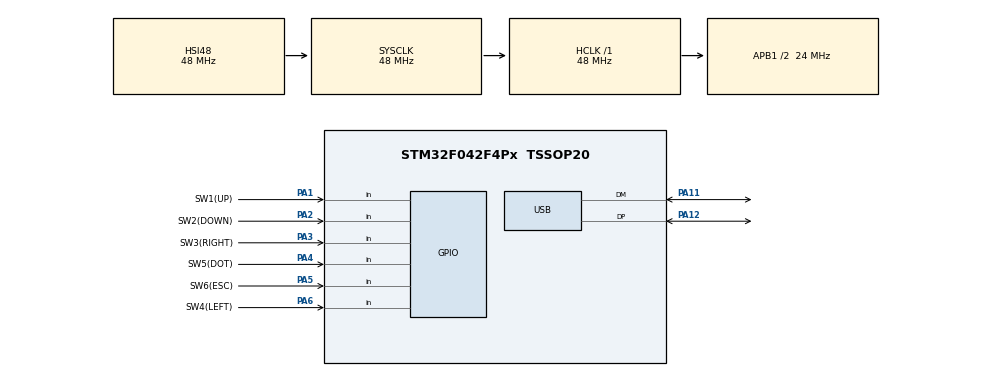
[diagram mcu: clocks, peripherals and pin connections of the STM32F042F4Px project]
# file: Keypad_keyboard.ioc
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Mcu.Family=STM32F0
Mcu.Name=STM32F042F4Px
Mcu.Package=TSSOP20
NVIC.TIM2_IRQn=true\:0\:0\:false\:false\:true\:true\:true\:true
NVIC.TIM3_IRQn=true\:0\:0\:false\:false\:true\:true\:true\:true
NVIC.USB_IRQn=true\:0\:0\:false\:false\:true\:false\:true\:true
PA1.GPIO_Label=SW1(UP)
PA1.GPIO_PuPd=GPIO_PULLUP
PA1.Signal=GPIO_Input
PA11.Mode=Device
PA11.Signal=USB_DM
PA12.Mode=Device
PA12.Signal=USB_DP
PA13.Mode=Serial_Wire
PA13.Signal=SYS_SWDIO
PA14.Mode=Serial_Wire
PA14.Signal=SYS_SWCLK
PA2.GPIO_Label=SW2(DOWN)
PA2.GPIO_PuPd=GPIO_PULLUP
PA2.Signal=GPIO_Input
PA3.GPIO_Label=SW3(RIGHT)
PA3.GPIO_PuPd=GPIO_PULLUP
PA3.Signal=GPIO_Input
PA4.GPIO_Label=SW5(DOT)
PA4.GPIO_PuPd=GPIO_PULLUP
PA4.Signal=GPIO_Input
PA5.GPIO_Label=SW6(ESC)
PA5.GPIO_PuPd=GPIO_PULLUP
PA5.Signal=GPIO_Input
PA6.GPIO_Label=SW4(LEFT)
PA6.GPIO_PuPd=GPIO_PULLUP
PA6.Signal=GPIO_Input
ProjectManager.HeapSize=0x200
ProjectManager.StackSize=0x400
ProjectManager.TargetToolchain=STM32CubeIDE
RCC.AHBFreq_Value=48000000
RCC.APB1CLKDivider=RCC_HCLK_DIV2
RCC.APB1Freq_Value=24000000
RCC.APB1TimFreq_Value=48000000
RCC.HCLKFreq_Value=48000000
RCC.SYSCLKFreq_VALUE=48000000
RCC.SYSCLKSource=RCC_SYSCLKSOURCE_HSI48
RCC.USBFreq_Value=48000000
TIM2.Period=5000 - 1
TIM2.Prescaler=4 - 1
TIM3.Period=100 - 1
TIM3.Prescaler=24 - 1
USB_DEVICE.CLASS_NAME_FS=HID
USB_DEVICE.MANUFACTURER_STRING=Xses
USB_DEVICE.PID_HID_FS=22315
USB_DEVICE.PRODUCT_STRING_HID_FS=Keypad Keyboard \:)
USB_DEVICE.USBD_SELF_POWERED=0
USB_DEVICE.VID=1155
USB_DEVICE.VirtualMode=Hid
USB_DEVICE.VirtualModeFS=Hid_FS
VP_SYS_VS_PINREMAP.Mode=PINREMAP
VP_TIM2_VS_ClockSourceINT.Mode=Internal
VP_TIM3_VS_ClockSourceINT.Mode=Internal
VP_USB_DEVICE_VS_USB_DEVICE_HID_FS.Mode=HID_FS
board=custom

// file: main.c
/* USER CODE BEGIN Header */
/**
  ******************************************************************************
  * @file           : main.c
  * @brief          : Main program body
  ******************************************************************************
  * @attention
  *
  * <h2><center>&copy; Copyright (c) 2021 STMicroelectronics.
  * All rights reserved.</center></h2>
  *
  * This software component is licensed by ST under BSD 3-Clause license,
  * the "License"; You may not use this file except in compliance with the
  * License. You may obtain a copy of the License at:
  *                        opensource.org/licenses/BSD-3-Clause
  *
  ******************************************************************************
  */
/* USER CODE END Header */
#include "main.h"
#include "usb_device.h"

/* USER CODE BEGIN Includes */

#include <stdbool.h>

/* USER CODE END Includes */

/* USER CODE BEGIN PTD */

extern USBD_HandleTypeDef hUsbDeviceFS;

/* USER CODE END PTD */

TIM_HandleTypeDef htim2;
TIM_HandleTypeDef htim3;

/* USER CODE BEGIN PV */

struct KEYS {

	uint16_t SW_State[6];
	bool	 SW_Key[6];
	bool	 flip_flop;

} keys;

struct keyboardHID_t {

	uint8_t id;
	uint8_t key1;
	uint8_t key2;
	uint8_t key3;

} keyboardHID;

struct consumerHID_t {

	uint8_t id;
	uint8_t key1;
	uint8_t key2;
	uint8_t key3;

} consumerHID;

/* USER CODE END PV */

void SystemClock_Config(void);
static void MX_GPIO_Init(void);
static void MX_TIM2_Init(void);
static void MX_TIM3_Init(void);
/* USER CODE BEGIN PFP */

uint8_t USBD_HID_SendReport(USBD_HandleTypeDef  *pdev,
                            uint8_t *report,
                            uint16_t len);

/* USER CODE END PFP */

int main(void)
{
  /* USER CODE BEGIN 1 */

	for (int i = 0; i < 6; i++) {

		keys.SW_State[i] = 0;
		keys.SW_Key[i] 	 = 0;

	}

	keyboardHID.id	 = 1;
	keyboardHID.key1 = 0;
	keyboardHID.key2 = 0;
	keyboardHID.key3 = 0;

	consumerHID.id 	 = 2;
	consumerHID.key1 = 0;
	consumerHID.key2 = 0;
	consumerHID.key3 = 0;

	keys.flip_flop = 0;

  /* USER CODE END 1 */

  /* MCU Configuration--------------------------------------------------------*/

  /* Reset of all peripherals, Initializes the Flash interface and the Systick. */
  HAL_Init();

  /* Configure the system clock */
  SystemClock_Config();

  /* Initialize all configured peripherals */
  MX_GPIO_Init();
  MX_TIM2_Init();
  MX_TIM3_Init();
  MX_USB_DEVICE_Init();
  /* USER CODE BEGIN 2 */

  HAL_TIM_Base_Start_IT(&htim2);
  HAL_TIM_Base_Start_IT(&htim3);

  /* USER CODE END 2 */

  /* Infinite loop */
  while (1)
  {

  }
}

void SystemClock_Config(void)
{
  RCC_OscInitTypeDef RCC_OscInitStruct = {0};
  RCC_ClkInitTypeDef RCC_ClkInitStruct = {0};
  RCC_PeriphCLKInitTypeDef PeriphClkInit = {0};

  /** Initializes the RCC Oscillators according to the specified parameters
  * in the RCC_OscInitTypeDef structure.
  */
  RCC_OscInitStruct.OscillatorType = RCC_OSCILLATORTYPE_HSI48;
  RCC_OscInitStruct.HSI48State = RCC_HSI48_ON;
  RCC_OscInitStruct.PLL.PLLState = RCC_PLL_NONE;
  if (HAL_RCC_OscConfig(&RCC_OscInitStruct) != HAL_OK)
  {
    Error_Handler();
  }
  /** Initializes the CPU, AHB and APB buses clocks
  */
  RCC_ClkInitStruct.ClockType = RCC_CLOCKTYPE_HCLK|RCC_CLOCKTYPE_SYSCLK
                              |RCC_CLOCKTYPE_PCLK1;
  RCC_ClkInitStruct.SYSCLKSource = RCC_SYSCLKSOURCE_HSI48;
  RCC_ClkInitStruct.AHBCLKDivider = RCC_SYSCLK_DIV1;
  RCC_ClkInitStruct.APB1CLKDivider = RCC_HCLK_DIV2;

  if (HAL_RCC_ClockConfig(&RCC_ClkInitStruct, FLASH_LATENCY_1) != HAL_OK)
  {
    Error_Handler();
  }
  PeriphClkInit.PeriphClockSelection = RCC_PERIPHCLK_USB;
  PeriphClkInit.UsbClockSelection = RCC_USBCLKSOURCE_HSI48;

  if (HAL_RCCEx_PeriphCLKConfig(&PeriphClkInit) != HAL_OK)
  {
    Error_Handler();
  }
}

static void MX_TIM2_Init(void)
{

  TIM_ClockConfigTypeDef sClockSourceConfig = {0};
  TIM_MasterConfigTypeDef sMasterConfig = {0};

  htim2.Instance = TIM2;
  htim2.Init.Prescaler = 4 - 1;
  htim2.Init.CounterMode = TIM_COUNTERMODE_UP;
  htim2.Init.Period = 5000 - 1;
  htim2.Init.ClockDivision = TIM_CLOCKDIVISION_DIV1;
  htim2.Init.AutoReloadPreload = TIM_AUTORELOAD_PRELOAD_DISABLE;
  if (HAL_TIM_Base_Init(&htim2) != HAL_OK)
  {
    Error_Handler();
  }
  sClockSourceConfig.ClockSource = TIM_CLOCKSOURCE_INTERNAL;
  if (HAL_TIM_ConfigClockSource(&htim2, &sClockSourceConfig) != HAL_OK)
  {
    Error_Handler();
  }
  sMasterConfig.MasterOutputTrigger = TIM_TRGO_RESET;
  sMasterConfig.MasterSlaveMode = TIM_MASTERSLAVEMODE_DISABLE;
  if (HAL_TIMEx_MasterConfigSynchronization(&htim2, &sMasterConfig) != HAL_OK)
  {
    Error_Handler();
  }

}

static void MX_TIM3_Init(void)
{

  TIM_ClockConfigTypeDef sClockSourceConfig = {0};
  TIM_MasterConfigTypeDef sMasterConfig = {0};

  htim3.Instance = TIM3;
  htim3.Init.Prescaler = 24 - 1;
  htim3.Init.CounterMode = TIM_COUNTERMODE_UP;
  htim3.Init.Period = 100 - 1;
  htim3.Init.ClockDivision = TIM_CLOCKDIVISION_DIV1;
  htim3.Init.AutoReloadPreload = TIM_AUTORELOAD_PRELOAD_DISABLE;
  if (HAL_TIM_Base_Init(&htim3) != HAL_OK)
  {
    Error_Handler();
  }
  sClockSourceConfig.ClockSource = TIM_CLOCKSOURCE_INTERNAL;
  if (HAL_TIM_ConfigClockSource(&htim3, &sClockSourceConfig) != HAL_OK)
  {
    Error_Handler();
  }
  sMasterConfig.MasterOutputTrigger = TIM_TRGO_RESET;
  sMasterConfig.MasterSlaveMode = TIM_MASTERSLAVEMODE_DISABLE;
  if (HAL_TIMEx_MasterConfigSynchronization(&htim3, &sMasterConfig) != HAL_OK)
  {
    Error_Handler();
  }

}

static void MX_GPIO_Init(void)
{
  GPIO_InitTypeDef GPIO_InitStruct = {0};

  /* GPIO Ports Clock Enable */
  __HAL_RCC_GPIOA_CLK_ENABLE();

  /*Configure GPIO pins : SW1_Pin SW2_Pin SW3_Pin SW5_Pin
                           SW6_Pin SW4_Pin */
  GPIO_InitStruct.Pin = SW1_Pin|SW2_Pin|SW3_Pin|SW5_Pin
                          |SW6_Pin|SW4_Pin;
  GPIO_InitStruct.Mode = GPIO_MODE_INPUT;
  GPIO_InitStruct.Pull = GPIO_PULLUP;
  HAL_GPIO_Init(GPIOA, &GPIO_InitStruct);

}

/* USER CODE BEGIN 4 */

void HAL_TIM_PeriodElapsedCallback(TIM_HandleTypeDef* htim) {

	if (htim == &htim2) {
		keys.SW_Key[0] = HAL_GPIO_ReadPin(GPIOA, SW1_Pin);
		keys.SW_Key[1] = HAL_GPIO_ReadPin(GPIOA, SW2_Pin);
		keys.SW_Key[2] = HAL_GPIO_ReadPin(GPIOA, SW3_Pin);
		keys.SW_Key[3] = HAL_GPIO_ReadPin(GPIOA, SW4_Pin);
		keys.SW_Key[4] = HAL_GPIO_ReadPin(GPIOA, SW5_Pin);
		keys.SW_Key[5] = HAL_GPIO_ReadPin(GPIOA, SW6_Pin);

		/**** The bouncing ****/
		for (int i = 0; i < 6; i++) {
			keys.SW_State[i] = (keys.SW_State[i] << 1) | keys.SW_Key[i] | 0xe000;
		}

		HAL_TIM_Base_Start_IT(&htim2);
	}

	if (htim == &htim3) {

		/**** Which key was pressed ****/

		/* If you want to change the keys:
		 *
		 * Universal Serial Bus HID Usage Tables v1.5
		 * Pages 89 - 95
		 *
		 * 11 - H
		 * 13 - J
		 * 14 - K
		 * 15 - L
		 *
		 * 4  - A
		 * 7  - D
		 * 22 - S
		 * 26 - W
		 *
		 * 40 - Enter
		 * 41 - Escape
		 * 55 - Dot
		 *
		 */

		for (int i = 0; i < 6; i++) {
			if (keys.SW_State[i] == 0xe000) {
				switch (i) {
					case 0 :
						keyboardHID.key1 = 127; //Mute
						break;

					case 1 :
						consumerHID.key1 = 205; //Play/Pause
						break;

					case 2 :
						consumerHID.key1 = 181; //Next Track
						break;

					case 3 :
						consumerHID.key1 = 182; //Previous Track
						break;

					case 4 :
						keyboardHID.key2 = 128; //Vol. Down
						break;

					case 5 :
						keyboardHID.key3 = 129; //Vol. Up
						break;
				}
			}
		}

		if (keys.flip_flop == 0) {
			/**** Sending USB Keyboard Report to the Host Device ****/
			USBD_HID_SendReport(&hUsbDeviceFS, &keyboardHID, sizeof(struct keyboardHID_t));

			keyboardHID.key1 = 0;
			keyboardHID.key2 = 0;
			keyboardHID.key3 = 0;

			keys.flip_flop = 1;

		} else {
			/**** Sending USB Consumer Report to the Host Device ****/
			USBD_HID_SendReport(&hUsbDeviceFS, &consumerHID, sizeof(struct consumerHID_t));

			consumerHID.key1 = 0;
			consumerHID.key2 = 0;
			consumerHID.key3 = 0;

			keys.flip_flop = 0;

		}

		HAL_TIM_Base_Start_IT(&htim3);
	}
}

/* USER CODE END 4 */

void Error_Handler(void)
{
  __disable_irq();
  while (1)
  {
  }
}
